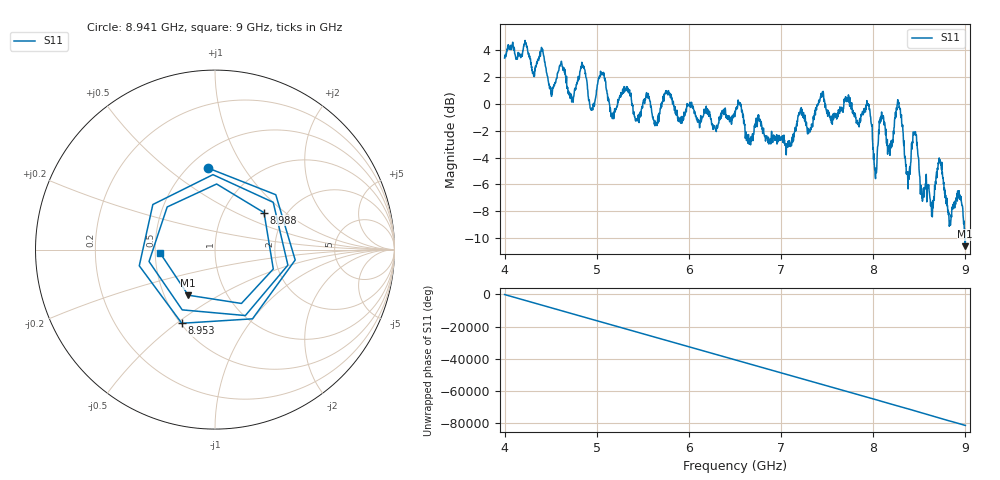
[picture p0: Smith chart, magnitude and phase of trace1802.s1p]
! Created with skrf 1.8.0 (http://scikit-rf.org).
# Hz S RI R 50.0
!freq ReS11 ImS11
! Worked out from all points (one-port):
!   1601 points, 4 GHz to 9 GHz, reference 50 ohm
!   lowest |S11| = -10.6 dB at 8.997 GHz (marker M1), VSWR 1.83, Z = 33 - j18.3 ohm
!   |S11| at or under -10 dB: 8.995318 GHz to end of sweep
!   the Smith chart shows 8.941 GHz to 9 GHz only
!   S11 on the Smith chart (normalised r, x): 8.941 GHz: 0.61, +0.71; 8.953 GHz: 0.51, -0.52; 8.988 GHz: 1.55, +0.72; 9 GHz: 0.53, -0.02
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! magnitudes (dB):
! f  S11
! 4 GHz  3.4
! 4.625 GHz  2.8
! 4.722 GHz  0.6
! 4.847 GHz  2.9
! 4.944 GHz  -0.5
! 5.053 GHz  2.3
! 5.162 GHz  -0.8
! 5.25 GHz  0.6
! 5.875 GHz  -0.9
! 6.5 GHz  -0.5
! 7.125 GHz  -2.9
! 7.75 GHz  0.2
! 7.947 GHz  0.0
! 8.022 GHz  -5.4
! 8.084 GHz  -0.9
! 8.181 GHz  -3.8
! 8.275 GHz  0.0
! 8.375 GHz  -5.7
! 8.45 GHz  -2.3
! 8.534 GHz  -7.3
! 8.638 GHz  -7.7
! 8.719 GHz  -4.3
! 8.828 GHz  -9.1
! 8.941 GHz  -6.8
! 8.953 GHz  -6.9
! 8.988 GHz  -9.3
! 8.997 GHz  -10.6
! 9 GHz  -10.3
